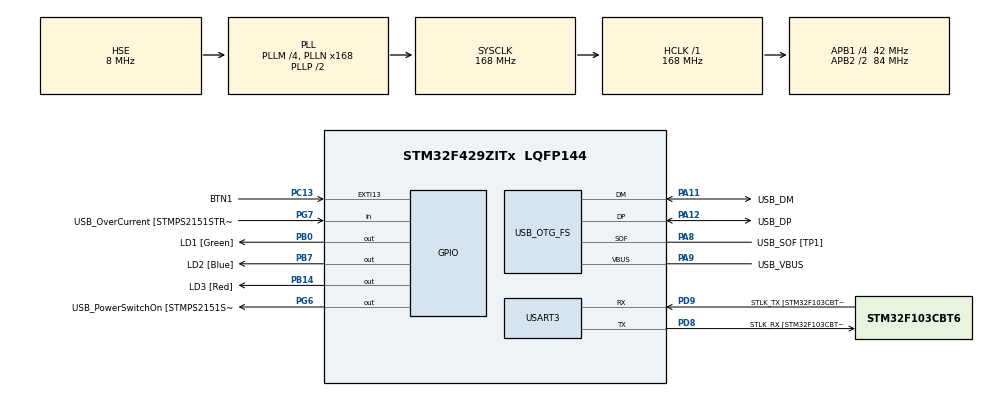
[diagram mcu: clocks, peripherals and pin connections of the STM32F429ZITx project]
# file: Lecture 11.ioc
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Mcu.Family=STM32F4
Mcu.Name=STM32F429ZITx
Mcu.Package=LQFP144
NVIC.OTG_FS_IRQn=true\:0\:0\:false\:false\:true\:false\:true\:true
NVIC.PriorityGroup=NVIC_PRIORITYGROUP_4
PA1.GPIO_Label=RMII_REF_CLK [LAN8742A-CZ-TR_REFCLK0]
PA1.Signal=ETH_REF_CLK
PA10.GPIO_Label=USB_ID
PA10.Signal=USB_OTG_FS_ID
PA11.GPIO_Label=USB_DM
PA11.Mode=Device_Only
PA11.Signal=USB_OTG_FS_DM
PA12.GPIO_Label=USB_DP
PA12.Mode=Device_Only
PA12.Signal=USB_OTG_FS_DP
PA13.GPIO_Label=TMS
PA13.Mode=Serial_Wire
PA13.Signal=SYS_JTMS-SWDIO
PA14.GPIO_Label=TCK
PA14.Mode=Serial_Wire
PA14.Signal=SYS_JTCK-SWCLK
PA2.GPIO_Label=RMII_MDIO [LAN8742A-CZ-TR_MDIO]
PA2.Signal=ETH_MDIO
PA7.GPIO_Label=RMII_CRS_DV [LAN8742A-CZ-TR_CRS_DV]
PA7.Signal=ETH_CRS_DV
PA8.GPIO_Label=USB_SOF [TP1]
PA8.Mode=Activate_SOF_FS
PA8.Signal=USB_OTG_FS_SOF
PA9.GPIO_Label=USB_VBUS
PA9.Mode=Activate_VBUS
PA9.Signal=USB_OTG_FS_VBUS
PB0.GPIO_Label=LD1 [Green]
PB0.Signal=GPIO_Output
PB13.GPIO_Label=RMII_TXD1 [LAN8742A-CZ-TR_TXD1]
PB13.Signal=ETH_TXD1
PB14.GPIO_Label=LD3 [Red]
PB14.Signal=GPIO_Output
PB7.GPIO_Label=LD2 [Blue]
PB7.Signal=GPIO_Output
PC1.GPIO_Label=RMII_MDC [LAN8742A-CZ-TR_MDC]
PC1.Signal=ETH_MDC
PC13.GPIO_Label=BTN1
PC13.Signal=GPXTI13
PC14/OSC32_IN.Mode=LSE-External-Oscillator
PC14/OSC32_IN.Signal=RCC_OSC32_IN
PC15/OSC32_OUT.Mode=LSE-External-Oscillator
PC15/OSC32_OUT.Signal=RCC_OSC32_OUT
PC4.GPIO_Label=RMII_RXD0 [LAN8742A-CZ-TR_RXD0]
PC4.Signal=ETH_RXD0
PC5.GPIO_Label=RMII_RXD1 [LAN8742A-CZ-TR_RXD1]
PC5.Signal=ETH_RXD1
PD8.GPIO_Label=STLK_RX [STM32F103CBT6_PA3]
PD8.Mode=Asynchronous
PD8.Signal=USART3_TX
PD9.GPIO_Label=STLK_TX [STM32F103CBT6_PA2]
PD9.Mode=Asynchronous
PD9.Signal=USART3_RX
PG11.GPIO_Label=RMII_TX_EN [LAN8742A-CZ-TR_TXEN]
PG11.Signal=ETH_TX_EN
PG13.GPIO_Label=RMII_TXD0 [LAN8742A-CZ-TR_TXD0]
PG13.Signal=ETH_TXD0
PG6.GPIO_Label=USB_PowerSwitchOn [STMPS2151STR_EN]
PG6.Signal=GPIO_Output
PG7.GPIO_Label=USB_OverCurrent [STMPS2151STR_FAULT]
PG7.Signal=GPIO_Input
PH0/OSC_IN.GPIO_Label=MCO [STM32F103CBT6_PA8]
PH0/OSC_IN.Mode=HSE-External-Clock-Source
PH0/OSC_IN.Signal=RCC_OSC_IN
PH1/OSC_OUT.Mode=HSE-External-Clock-Source
PH1/OSC_OUT.Signal=RCC_OSC_OUT
ProjectManager.HeapSize=0x200
ProjectManager.StackSize=0x400
ProjectManager.TargetToolchain=STM32CubeIDE
RCC.48MHZClocksFreq_Value=48000000
RCC.AHBFreq_Value=168000000
RCC.APB1CLKDivider=RCC_HCLK_DIV4
RCC.APB1Freq_Value=42000000
RCC.APB1TimFreq_Value=84000000
RCC.APB2CLKDivider=RCC_HCLK_DIV2
RCC.APB2Freq_Value=84000000
RCC.APB2TimCLKDivider=2
RCC.APB2TimFreq_Value=168000000
RCC.CortexFreq_Value=168000000
RCC.HCLKFreq_Value=168000000
RCC.HSE_VALUE=8000000
RCC.HSI_VALUE=16000000
RCC.PLLM=4
RCC.PLLMUL=RCC_PLL_MUL9
RCC.PLLN=168
RCC.PLLQ=7
RCC.PRESCALERUSB=RCC_USBCLKSOURCE_PLL_DIV1_5
RCC.SYSCLKFreq_VALUE=168000000
RCC.SYSCLKSource=RCC_SYSCLKSOURCE_PLLCLK
RCC.SYSCLKSourceVirtual=RCC_SYSCLKSOURCE_PLLCLK
RCC.USBFreq_Value=48000000
RCC.VCOOutputFreq_Value=336000000
USART3.VirtualMode=VM_ASYNC
USB_DEVICE.CLASS_NAME_FS=HID
USB_DEVICE.VirtualMode-HID_FS=Hid
USB_DEVICE.VirtualModeFS=Hid_FS
USB_OTG_FS.VirtualMode=Device_Only
VP_USB_DEVICE_VS_USB_DEVICE_HID_FS.Mode=HID_FS
board=NUCLEO-F429ZI

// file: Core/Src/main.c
/* USER CODE BEGIN Header */
/**
  ******************************************************************************
  * @file           : main.c
  * @brief          : Main program body
  ******************************************************************************
  * @attention
  *
  * Copyright (c) 2023 STMicroelectronics.
  * All rights reserved.
  *
  * This software is licensed under terms that can be found in the LICENSE file
  * in the root directory of this software component.
  * If no LICENSE file comes with this software, it is provided AS-IS.
  *
  ******************************************************************************
  */
/* USER CODE END Header */
#include "main.h"
#include "usb_device.h"

/* USER CODE BEGIN Includes */
#include "usbd_hid.h"
#include <math.h>
/* USER CODE END Includes */

UART_HandleTypeDef huart3;

/* USER CODE BEGIN PV */
extern USBD_HandleTypeDef hUsbDeviceFS;
/* USER CODE END PV */

void SystemClock_Config(void);
static void MX_GPIO_Init(void);
static void MX_USART3_UART_Init(void);

/* USER CODE BEGIN 0 */
void step(int x, int y, int click)
{
	uint8_t buff[4];
	buff[0] = 0x00 | click;
	buff[1] = (int8_t)(x);
	buff[2] = (int8_t)(y);
	buff[3] = 0;
	USBD_HID_SendReport(&hUsbDeviceFS, buff, sizeof(buff));
	HAL_Delay(USBD_HID_GetPollingInterval(&hUsbDeviceFS));
}

//px and py are the starting points
void draw_circle(float radius, int px, int py)
{
	int sx = px, sy = py;
	float x = 0, y = 0;

	for (int i = 0; i < 360; i++) {

		x = radius * cos(i * (M_PI/180));
		y = radius * sin(i * (M_PI/180));

		sx -= round(x);
		sy -= round(y);

		step(x, y, 0x01);
	}
	step(0, 0, 0x00);
}

void draw_mouth(float radius, int px, int py)
{
	int sx = px, sy = py;
	float x = 0, y = 0;

	for (int i = 0; i < 360; i++) {
		if (i < 90 || i > 270) continue;

		x = radius * cos(i * (M_PI/180));
		y = radius * sin(i * (M_PI/180));

		sx -= round(x);
		sy -= round(y);

		step(x, y, 0x01);
	}
	step(0, 0, 0x00);
}

void draw_head(int radius)
{
	draw_circle(radius, 0, 0);
	step(0, 0, 0x00);
}

void draw_nose(int radius)
{
	step(0, radius*10, 0x01);
	step(0, radius*15, 0x01);
	step(0, 0, 0x00);
}

void draw_left_eye(int radius)
{
	step(-1*radius*5, -1*radius*15, 0x00);
	draw_circle(radius/3, 0, 0);
}

void draw_right_eye(int radius)
{
	step(radius*16, 0, 0x00);
	draw_circle(radius/3, 0, 0);
	step(70, -radius*25, 0x00);
}
/* USER CODE END 0 */

int main(void)
{

  /* MCU Configuration--------------------------------------------------------*/

  /* Reset of all peripherals, Initializes the Flash interface and the Systick. */
  HAL_Init();

  /* Configure the system clock */
  SystemClock_Config();

  /* Initialize all configured peripherals */
  MX_GPIO_Init();
  MX_USART3_UART_Init();
  MX_USB_DEVICE_Init();

  /* Infinite loop */
  /* USER CODE BEGIN WHILE */
  while (1)
  {
	if (HAL_GPIO_ReadPin(BTN1_GPIO_Port, BTN1_Pin)) {
		float radius = 6;

		draw_head(radius);

		draw_nose(radius);

		draw_left_eye(radius);

		draw_right_eye(radius);

		draw_mouth(radius/1.2, 0, 0);
	}
    /* USER CODE END WHILE */

  }
}

void SystemClock_Config(void)
{
  RCC_OscInitTypeDef RCC_OscInitStruct = {0};
  RCC_ClkInitTypeDef RCC_ClkInitStruct = {0};

  /** Configure the main internal regulator output voltage
  */
  __HAL_RCC_PWR_CLK_ENABLE();
  __HAL_PWR_VOLTAGESCALING_CONFIG(PWR_REGULATOR_VOLTAGE_SCALE1);

  /** Initializes the RCC Oscillators according to the specified parameters
  * in the RCC_OscInitTypeDef structure.
  */
  RCC_OscInitStruct.OscillatorType = RCC_OSCILLATORTYPE_HSE;
  RCC_OscInitStruct.HSEState = RCC_HSE_BYPASS;
  RCC_OscInitStruct.PLL.PLLState = RCC_PLL_ON;
  RCC_OscInitStruct.PLL.PLLSource = RCC_PLLSOURCE_HSE;
  RCC_OscInitStruct.PLL.PLLM = 4;
  RCC_OscInitStruct.PLL.PLLN = 168;
  RCC_OscInitStruct.PLL.PLLP = RCC_PLLP_DIV2;
  RCC_OscInitStruct.PLL.PLLQ = 7;
  if (HAL_RCC_OscConfig(&RCC_OscInitStruct) != HAL_OK)
  {
    Error_Handler();
  }

  /** Initializes the CPU, AHB and APB buses clocks
  */
  RCC_ClkInitStruct.ClockType = RCC_CLOCKTYPE_HCLK|RCC_CLOCKTYPE_SYSCLK
                              |RCC_CLOCKTYPE_PCLK1|RCC_CLOCKTYPE_PCLK2;
  RCC_ClkInitStruct.SYSCLKSource = RCC_SYSCLKSOURCE_PLLCLK;
  RCC_ClkInitStruct.AHBCLKDivider = RCC_SYSCLK_DIV1;
  RCC_ClkInitStruct.APB1CLKDivider = RCC_HCLK_DIV4;
  RCC_ClkInitStruct.APB2CLKDivider = RCC_HCLK_DIV2;

  if (HAL_RCC_ClockConfig(&RCC_ClkInitStruct, FLASH_LATENCY_5) != HAL_OK)
  {
    Error_Handler();
  }
}

static void MX_USART3_UART_Init(void)
{

  huart3.Instance = USART3;
  huart3.Init.BaudRate = 115200;
  huart3.Init.WordLength = UART_WORDLENGTH_8B;
  huart3.Init.StopBits = UART_STOPBITS_1;
  huart3.Init.Parity = UART_PARITY_NONE;
  huart3.Init.Mode = UART_MODE_TX_RX;
  huart3.Init.HwFlowCtl = UART_HWCONTROL_NONE;
  huart3.Init.OverSampling = UART_OVERSAMPLING_16;
  if (HAL_UART_Init(&huart3) != HAL_OK)
  {
    Error_Handler();
  }

}

static void MX_GPIO_Init(void)
{
  GPIO_InitTypeDef GPIO_InitStruct = {0};

  /* GPIO Ports Clock Enable */
  __HAL_RCC_GPIOC_CLK_ENABLE();
  __HAL_RCC_GPIOH_CLK_ENABLE();
  __HAL_RCC_GPIOA_CLK_ENABLE();
  __HAL_RCC_GPIOB_CLK_ENABLE();
  __HAL_RCC_GPIOD_CLK_ENABLE();
  __HAL_RCC_GPIOG_CLK_ENABLE();

  /*Configure GPIO pin Output Level */
  HAL_GPIO_WritePin(GPIOB, LD1_Pin|LD3_Pin|LD2_Pin, GPIO_PIN_RESET);

  /*Configure GPIO pin Output Level */
  HAL_GPIO_WritePin(USB_PowerSwitchOn_GPIO_Port, USB_PowerSwitchOn_Pin, GPIO_PIN_RESET);

  /*Configure GPIO pin : BTN1_Pin */
  GPIO_InitStruct.Pin = BTN1_Pin;
  GPIO_InitStruct.Mode = GPIO_MODE_IT_RISING;
  GPIO_InitStruct.Pull = GPIO_NOPULL;
  HAL_GPIO_Init(BTN1_GPIO_Port, &GPIO_InitStruct);

  /*Configure GPIO pins : RMII_MDC_Pin RMII_RXD0_Pin RMII_RXD1_Pin */
  GPIO_InitStruct.Pin = RMII_MDC_Pin|RMII_RXD0_Pin|RMII_RXD1_Pin;
  GPIO_InitStruct.Mode = GPIO_MODE_AF_PP;
  GPIO_InitStruct.Pull = GPIO_NOPULL;
  GPIO_InitStruct.Speed = GPIO_SPEED_FREQ_VERY_HIGH;
  GPIO_InitStruct.Alternate = GPIO_AF11_ETH;
  HAL_GPIO_Init(GPIOC, &GPIO_InitStruct);

  /*Configure GPIO pins : RMII_REF_CLK_Pin RMII_MDIO_Pin RMII_CRS_DV_Pin */
  GPIO_InitStruct.Pin = RMII_REF_CLK_Pin|RMII_MDIO_Pin|RMII_CRS_DV_Pin;
  GPIO_InitStruct.Mode = GPIO_MODE_AF_PP;
  GPIO_InitStruct.Pull = GPIO_NOPULL;
  GPIO_InitStruct.Speed = GPIO_SPEED_FREQ_VERY_HIGH;
  GPIO_InitStruct.Alternate = GPIO_AF11_ETH;
  HAL_GPIO_Init(GPIOA, &GPIO_InitStruct);

  /*Configure GPIO pins : LD1_Pin LD3_Pin LD2_Pin */
  GPIO_InitStruct.Pin = LD1_Pin|LD3_Pin|LD2_Pin;
  GPIO_InitStruct.Mode = GPIO_MODE_OUTPUT_PP;
  GPIO_InitStruct.Pull = GPIO_NOPULL;
  GPIO_InitStruct.Speed = GPIO_SPEED_FREQ_LOW;
  HAL_GPIO_Init(GPIOB, &GPIO_InitStruct);

  /*Configure GPIO pin : RMII_TXD1_Pin */
  GPIO_InitStruct.Pin = RMII_TXD1_Pin;
  GPIO_InitStruct.Mode = GPIO_MODE_AF_PP;
  GPIO_InitStruct.Pull = GPIO_NOPULL;
  GPIO_InitStruct.Speed = GPIO_SPEED_FREQ_VERY_HIGH;
  GPIO_InitStruct.Alternate = GPIO_AF11_ETH;
  HAL_GPIO_Init(RMII_TXD1_GPIO_Port, &GPIO_InitStruct);

  /*Configure GPIO pin : USB_PowerSwitchOn_Pin */
  GPIO_InitStruct.Pin = USB_PowerSwitchOn_Pin;
  GPIO_InitStruct.Mode = GPIO_MODE_OUTPUT_PP;
  GPIO_InitStruct.Pull = GPIO_NOPULL;
  GPIO_InitStruct.Speed = GPIO_SPEED_FREQ_LOW;
  HAL_GPIO_Init(USB_PowerSwitchOn_GPIO_Port, &GPIO_InitStruct);

  /*Configure GPIO pin : USB_OverCurrent_Pin */
  GPIO_InitStruct.Pin = USB_OverCurrent_Pin;
  GPIO_InitStruct.Mode = GPIO_MODE_INPUT;
  GPIO_InitStruct.Pull = GPIO_NOPULL;
  HAL_GPIO_Init(USB_OverCurrent_GPIO_Port, &GPIO_InitStruct);

  /*Configure GPIO pins : RMII_TX_EN_Pin RMII_TXD0_Pin */
  GPIO_InitStruct.Pin = RMII_TX_EN_Pin|RMII_TXD0_Pin;
  GPIO_InitStruct.Mode = GPIO_MODE_AF_PP;
  GPIO_InitStruct.Pull = GPIO_NOPULL;
  GPIO_InitStruct.Speed = GPIO_SPEED_FREQ_VERY_HIGH;
  GPIO_InitStruct.Alternate = GPIO_AF11_ETH;
  HAL_GPIO_Init(GPIOG, &GPIO_InitStruct);

}

void Error_Handler(void)
{
  __disable_irq();
  while (1)
  {
  }
}
